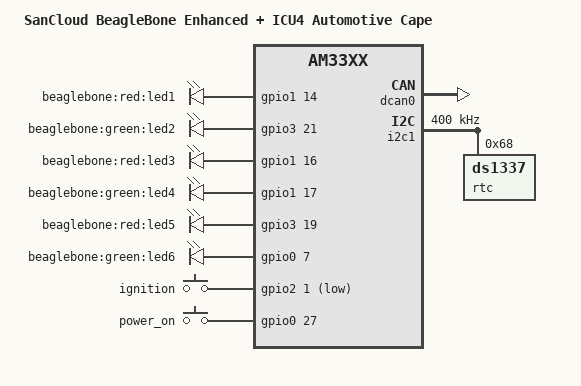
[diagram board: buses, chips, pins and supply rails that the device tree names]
// SPDX-License-Identifier: GPL-2.0-only
/*
 * Copyright (C) 2012 Texas Instruments Incorporated - http://www.ti.com/
 */
/dts-v1/;

#include "am33xx.dtsi"
#include "am335x-bone-common.dtsi"
#include "am335x-boneblack-common.dtsi"
#include "am335x-sancloud-bbe-common.dtsi"

/ {
	model = "SanCloud BeagleBone Enhanced + ICU4 Automotive Cape";
	compatible = "sancloud,am335x-boneenhanced", "ti,am335x-bone-black", "ti,am335x-bone", "ti,am33xx";
};

/ {
	icu_leds {
		pinctrl-names = "default", "sleep";
		pinctrl-0 = <&user_leds_s1>;
		pinctrl-1 = <&user_leds_s1_sleep>;

		compatible = "gpio-leds";

		icu_led@2 {
			label = "beaglebone:red:led1";
			gpios = <&gpio1 14 GPIO_ACTIVE_HIGH>;
			linux,default-trigger = "mmc0";
			default-state = "off";
		};

		icu_led@3 {
			label = "beaglebone:green:led2";
			gpios = <&gpio3 21 GPIO_ACTIVE_HIGH>;
			linux,default-trigger = "heartbeat";
			default-state = "off";
		};

		icu_led@1 {
			label = "beaglebone:red:led3";
			gpios = <&gpio1 16 GPIO_ACTIVE_HIGH>;
			linux,default-trigger = "none";
			default-state = "off";
		};

		icu_led@6 {
			label = "beaglebone:green:led4";
			gpios = <&gpio1 17 GPIO_ACTIVE_HIGH>;
			linux,default-trigger = "none";
			default-state = "off";
		};

		icu_led@5 {
			label = "beaglebone:red:led5";
			gpios = <&gpio3 19 GPIO_ACTIVE_HIGH>;
			linux,default-trigger = "none"; //"cpu0";
			default-state = "off";
		};

		icu_led@4 { /*CANNOT USE ON V1*/
			label = "beaglebone:green:led6";
			gpios = <&gpio0 7 GPIO_ACTIVE_HIGH>;
			linux,default-trigger = "none";
			default-state = "off";
		};
	};

	gpio_keys {
		compatible = "gpio-keys";
		pinctrl-names = "default";
		pinctrl-0 = <&gpio_buttons_s0>;
		#address-cells = <1>;
		#size-cells = <0>;

		/* 17 -> 18 BBE SK7000*/
		switch1 {
			label = "ignition";
			linux,code = <0x8f>;  /*KEY_WAKEUP*/
			gpios = <&gpio2 1 GPIO_ACTIVE_LOW>;
			gpio-key;
			debounce-interval = <10>;
		};

		/* 18 -> 17 BBE SK7000*/
		switch2 {
			label = "power_on";
			linux,code = <0x3b>;  /*KEY_F1*/
			gpios = <&gpio0 27 GPIO_ACTIVE_HIGH>;
			gpio-key;
			debounce-interval = <10>;
		};
	};
};

&am33xx_pinmux {
	pinctrl-0 = <&usb_hub_ctrl>;

	user_leds_default: user_leds_default {
		pinctrl-single,pins = <
			AM33XX_PADCONF(AM335X_PIN_GPMC_A5, PIN_OUTPUT_PULLDOWN, MUX_MODE7)	/* gpmc_a5.gpio1_21 */
			AM33XX_PADCONF(AM335X_PIN_GPMC_A6, PIN_OUTPUT_PULLUP, MUX_MODE7)	/* gpmc_a6.gpio1_22 */
			AM33XX_PADCONF(AM335X_PIN_GPMC_A7, PIN_OUTPUT_PULLDOWN, MUX_MODE7)	/* gpmc_a7.gpio1_23 */
			AM33XX_PADCONF(AM335X_PIN_GPMC_A8, PIN_OUTPUT_PULLUP, MUX_MODE7)	/* gpmc_a8.gpio1_24 */
		>;
	};

	user_leds_sleep: user_leds_sleep {
		pinctrl-single,pins = <
			AM33XX_PADCONF(AM335X_PIN_GPMC_A5, PIN_INPUT_PULLDOWN, MUX_MODE7)	/* gpmc_a5.gpio1_21 */
			AM33XX_PADCONF(AM335X_PIN_GPMC_A6, PIN_INPUT_PULLDOWN, MUX_MODE7)	/* gpmc_a6.gpio1_22 */
			AM33XX_PADCONF(AM335X_PIN_GPMC_A7, PIN_INPUT_PULLDOWN, MUX_MODE7)	/* gpmc_a7.gpio1_23 */
			AM33XX_PADCONF(AM335X_PIN_GPMC_A8, PIN_INPUT_PULLDOWN, MUX_MODE7)	/* gpmc_a8.gpio1_24 */
		>;
	};

	dcan0_pins_s0: dcan0_pins_s0 {
		pinctrl-single,pins = <
			AM33XX_PADCONF(AM335X_PIN_UART1_RTSN, PIN_INPUT_PULLUP, MUX_MODE2) /* d_can0_rx, SLEWCTRL_FAST | RECV_ENABLE | INPUT_PULLUP | MODE2 */
			AM33XX_PADCONF(AM335X_PIN_UART1_CTSN, PIN_OUTPUT_PULLUP, MUX_MODE2) /* d_can0_tx, SLEWCTRL_FAST | OUTPUT_PULLUP | MODE2 */
		>;
	};

	dcan0_pins_s0_sleep: dcan0_pins_s0_sleep {
		pinctrl-single,pins = <
			AM33XX_PADCONF(AM335X_PIN_UART1_RTSN, PIN_INPUT_PULLDOWN, MUX_MODE7)  /* d_can0_rx, SLEWCTRL_FAST | RECV_ENABLE | INPUT_PULLUP | MODE2 */
			AM33XX_PADCONF(AM335X_PIN_UART1_CTSN, PIN_INPUT_PULLDOWN, MUX_MODE7)  /* d_can0_tx, SLEWCTRL_FAST | OUTPUT_PULLUP | MODE2 */
		>;
	};

	user_leds_s1: user_leds_s1 {
		pinctrl-single,pins = <
			AM33XX_PADCONF(AM335X_PIN_MCASP0_FSR, PIN_OUTPUT_PULLDOWN, MUX_MODE7)	/* mcasp0_fsr.gpio3_19LED1*/
			AM33XX_PADCONF(AM335X_PIN_MCASP0_AHCLKX, PIN_OUTPUT_PULLDOWN, MUX_MODE7)	/* mcasp0_ahclkx.gpio3_21 LED2 */
			AM33XX_PADCONF(AM335X_PIN_GPMC_A1, PIN_OUTPUT_PULLDOWN, MUX_MODE7)	/* gpmc_a1.gpio1_17 LED3*/
			AM33XX_PADCONF(AM335X_PIN_ECAP0_IN_PWM0_OUT, PIN_OUTPUT_PULLDOWN, MUX_MODE7)	/* eCAP0_in_PWM0_out.gpio0_7 LED4*/
			AM33XX_PADCONF(AM335X_PIN_GPMC_A0, PIN_OUTPUT_PULLDOWN, MUX_MODE7)	/* gpmc_a0.gpio1_16 LED5*/
			AM33XX_PADCONF(AM335X_PIN_UART1_TXD, PIN_OUTPUT_PULLDOWN, MUX_MODE7)	/* uart1_txd.gpio0_15   LED6*/
		>;
	};

	user_leds_s1_sleep: user_leds_s1_sleep {
		pinctrl-single,pins = <
			AM33XX_PADCONF(AM335X_PIN_MCASP0_FSR, PIN_INPUT_PULLDOWN, MUX_MODE7)	/* mcasp0_fsr.gpio3_19LED1*/
			AM33XX_PADCONF(AM335X_PIN_MCASP0_AHCLKX, PIN_INPUT_PULLDOWN, MUX_MODE7)	/* mcasp0_ahclkx.gpio3_21 LED2 */
			AM33XX_PADCONF(AM335X_PIN_GPMC_A1, PIN_INPUT_PULLDOWN, MUX_MODE7)	/* gpmc_a1.gpio1_17 LED3*/
			AM33XX_PADCONF(AM335X_PIN_ECAP0_IN_PWM0_OUT, PIN_INPUT_PULLDOWN, MUX_MODE7)	/* eCAP0_in_PWM0_out.gpio0_7 LED4*/
			AM33XX_PADCONF(AM335X_PIN_GPMC_A0, PIN_INPUT_PULLDOWN, MUX_MODE7)	/* gpmc_a0.gpio1_16 LED5*/
			AM33XX_PADCONF(AM335X_PIN_UART1_TXD, PIN_INPUT_PULLDOWN, MUX_MODE7)	/* uart1_txd.gpio0_15   LED6*/
		>;
	};

	gpio_buttons_s0: gpio_buttons_s0 {
		pinctrl-single,pins = <
			AM33XX_PADCONF(AM335X_PIN_GPMC_AD11, PIN_INPUT_PULLDOWN, MUX_MODE7)   /*gpmc_ad11.gpio0_27 */
			AM33XX_PADCONF(AM335X_PIN_GPMC_CLK, PIN_INPUT_PULLDOWN, MUX_MODE7)   /*gpmc_clk.gpio2_1 */
			AM33XX_PADCONF(AM335X_PIN_GPMC_BEN1, PIN_OUTPUT_PULLDOWN, MUX_MODE7)   /*gpmc_ben1.gpio1_28 */
		>;
	};

	i2c1_pins: pinmux_i2c1_pins {
		pinctrl-single,pins = <
			AM33XX_PADCONF(AM335X_PIN_SPI0_D1, PIN_INPUT, MUX_MODE2)	/* i2c1_sca */
			AM33XX_PADCONF(AM335X_PIN_SPI0_CS0, PIN_INPUT, MUX_MODE2)	/* i2c1_scl */
		>;
	};
};

&dcan0 {
	#address-cells = <1>;
	#size-cells = <0>;
	pinctrl-names = "default", "sleep"; /* Apply default pinmuxing */
	pinctrl-0 = <&dcan0_pins_s0>;
	pinctrl-1 = <&dcan0_pins_s0_sleep>;
	status = "okay";  /* Switch on DCAN0 */
};

&i2c0 {
	pinctrl-names = "default";
	pinctrl-0 = <&mpu6050_pins &lps3331ap_pins>;
};

&i2c1 {
	pinctrl-names = "default";
	pinctrl-0 = <&i2c1_pins>;
	status = "okay";
	clock-frequency = <400000>;

	rtc@68 {
		device_type = "rtc";
		reg = <0x68>;
		compatible = "ds1337";
	};
};

/* Prevent i2c2 working as we need it for DCAN0 interface */
&i2c2 {
	status = "disabled";
};
